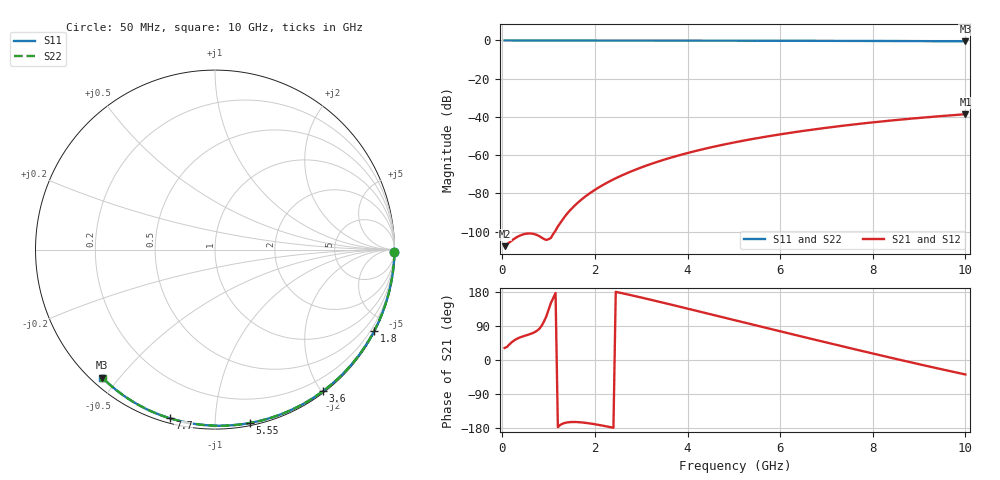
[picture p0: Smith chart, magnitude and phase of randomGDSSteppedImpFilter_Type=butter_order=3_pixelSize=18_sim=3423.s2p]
! freq	dB(S11)	phase(S11)	dB(S12)	phase(S12)
!  dB(S21)	phase(S21)	dB(S22)	phase(S22)
!S-par simulation data
#  GHz  S  DB  R 50
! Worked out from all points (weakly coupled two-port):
!   200 points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, 50 MHz to 10 GHz, reference 50 ohm
!   highest |S21| = -38.56 dB at 10 GHz (marker M1); lowest = -107.6 dB at 50 MHz (marker M2)
!   lowest |S11| = -0.4 dB at 10 GHz (marker M3), VSWR 39.03, Z = 1.54 - j22.6 ohm
!   |S11| at or under -10 dB: nowhere
!   |S22| runs from -0.4 to 0.0 dB; largest |S21 - S12| = 0
!   S11 on the Smith chart (normalised r, x): 50 MHz: open; 1.8 GHz: 0.04, -4.17; 3.6 GHz: 0.02, -2.02; 5.55 GHz: 0.02, -1.22; 7.7 GHz: 0.02, -0.77; 10 GHz: 0.03, -0.45
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0.05  -0.00 -0.8  -107.55 31.9  -107.55 31.9  -0.00 -0.8
0.9  -0.02 -13.6  -103.80 101.7  -103.80 101.7  -0.02 -13.6
1.75  -0.03 -26.2  -82.38 -165.2  -82.38 -165.2  -0.03 -26.2
1.8  -0.03 -27.0  -81.45 -165.9  -81.45 -165.9  -0.03 -26.9
1.85  -0.04 -27.7  -80.56 -166.7  -80.56 -166.7  -0.04 -27.6
1.9  -0.04 -28.4  -79.70 -167.6  -79.70 -167.6  -0.04 -28.4
2.05  -0.04 -30.6  -77.32 -170.6  -77.32 -170.6  -0.04 -30.5
2.25  -0.04 -33.5  -74.52 -175.1  -74.52 -175.1  -0.04 -33.4
2.45  -0.05 -36.4  -72.04 179.9  -72.04 179.9  -0.05 -36.3
2.65  -0.05 -39.3  -69.81 174.6  -69.81 174.6  -0.05 -39.2
3  -0.06 -44.3  -66.39 164.9  -66.39 164.9  -0.06 -44.2
3.4  -0.07 -49.9  -63.04 153.4  -63.04 153.4  -0.07 -49.8
3.6  -0.07 -52.7  -61.55 147.5  -61.55 147.5  -0.07 -52.6
4.3  -0.09 -62.3  -57.04 126.6  -57.04 126.6  -0.09 -62.1
5.05  -0.11 -72.2  -53.12 104.1  -53.12 104.1  -0.11 -72.1
5.55  -0.13 -78.7  -50.89 89.2  -50.89 89.2  -0.13 -78.5
6.1  -0.15 -85.7  -48.71 72.8  -48.71 72.8  -0.15 -85.5
6.7  -0.18 -93.1  -46.61 55.0  -46.61 55.0  -0.18 -92.9
7.7  -0.24 -105.1  -43.62 25.8  -43.62 25.8  -0.24 -104.9
8.35  -0.29 -112.7  -41.96 7.1  -41.96 7.1  -0.29 -112.5
9.15  -0.36 -121.8  -40.19 -15.3  -40.19 -15.3  -0.36 -121.6
10  -0.45 -131.4  -38.56 -38.2  -38.56 -38.2  -0.44 -131.2
